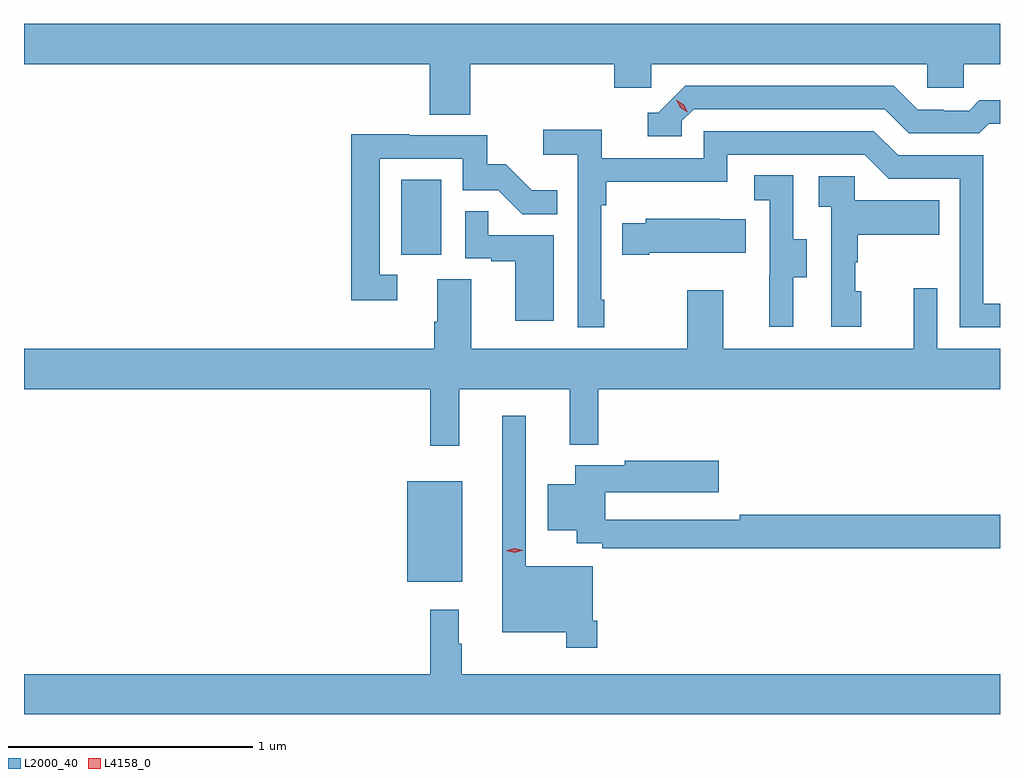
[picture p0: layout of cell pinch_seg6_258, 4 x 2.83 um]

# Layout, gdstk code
import gdstk
lib = gdstk.Library(unit=1e-6, precision=1e-09)
def R(c, l, rs):  # rectangles x0, y0, x1, y1
    for r in rs: c.add(gdstk.rectangle(r[:2], r[2:], *l))
def P(c, l, *ps):  # polygons
    for p in ps: c.add(gdstk.Polygon(p, *l))
L2000_40 = (2000, 40)
L4158_0 = (4158, 0)

pinch_seg6_258 = lib.new_cell('pinch_seg6_258')
R(pinch_seg6_258, L2000_40, [(1090.196,919.907,1090.423,920.317), (1090.172,921.246,1090.336,921.553)])
P(pinch_seg6_258, L2000_40, [(1090.454,922.028),(1091.045,922.028),(1091.045,921.93),(1091.196,921.93),(1091.196,922.028),(1092.327,922.028),(1092.327,921.93),(1092.477,921.93),(1092.477,922.028),(1092.626,922.028),(1092.626,922.192),(1088.626,922.192),(1088.626,922.028),(1090.289,922.028),(1090.289,921.82),(1090.454,921.82)],
  [(1091.322,921.795),(1091.37,921.843),(1092.153,921.843),(1092.252,921.744),(1092.541,921.744),(1092.58,921.783),(1092.626,921.783),(1092.626,921.88),(1092.541,921.88),(1092.499,921.837),(1092.396,921.837),(1092.396,921.84),(1092.289,921.84),(1092.19,921.939),(1091.337,921.939),(1091.226,921.828),(1091.183,921.828),(1091.183,921.732),(1091.322,921.732)],
  [(1091.005,921.061),(1090.992,921.061),(1090.992,921.449),(1091.012,921.449),(1091.012,921.545),(1091.508,921.545),(1091.508,921.657),(1092.072,921.657),(1092.171,921.558),(1092.462,921.558),(1092.462,920.949),(1092.626,920.949),(1092.626,921.045),(1092.558,921.045),(1092.558,921.654),(1092.208,921.654),(1092.109,921.753),(1091.412,921.753),(1091.412,921.642),(1090.994,921.642),(1090.994,921.758),(1090.755,921.758),(1090.755,921.656),(1090.896,921.656),(1090.896,920.949),(1091.005,920.949)],
  [(1090.156,921.165),(1090.083,921.165),(1090.083,921.639),(1090.425,921.639),(1090.425,921.51),(1090.569,921.51),(1090.667,921.412),(1090.811,921.412),(1090.811,921.511),(1090.707,921.511),(1090.6,921.618),(1090.524,921.618),(1090.524,921.735),(1090.205,921.735),(1090.205,921.74),(1089.967,921.74),(1089.967,921.06),(1090.156,921.06)],
  [(1091.779,921.154),(1091.833,921.154),(1091.833,921.309),(1091.778,921.309),(1091.778,921.572),(1091.619,921.572),(1091.619,921.469),(1091.682,921.469),(1091.682,921.165),(1091.681,921.165),(1091.681,920.952),(1091.779,920.952)],
  [(1092.058,921.096),(1092.033,921.096),(1092.033,921.215),(1092.043,921.215),(1092.043,921.329),(1092.377,921.329),(1092.377,921.469),(1092.03,921.469),(1092.03,921.567),(1091.883,921.567),(1091.883,921.443),(1091.934,921.443),(1091.934,920.952),(1092.058,920.952)],
  [(1090.798,921.327),(1090.529,921.327),(1090.529,921.425),(1090.434,921.425),(1090.434,921.231),(1090.541,921.231),(1090.541,921.219),(1090.64,921.219),(1090.64,920.976),(1090.798,920.976)],
  [(1091.188,921.254),(1091.585,921.254),(1091.585,921.391),(1091.477,921.391),(1091.477,921.394),(1091.175,921.394),(1091.175,921.376),(1091.077,921.376),(1091.077,921.247),(1091.188,921.247)],
  [(1088.626,920.696),(1090.291,920.696),(1090.291,920.463),(1090.409,920.463),(1090.409,920.696),(1090.862,920.696),(1090.862,920.468),(1090.979,920.468),(1090.979,920.696),(1092.626,920.696),(1092.626,920.86),(1092.369,920.86),(1092.369,921.109),(1092.272,921.109),(1092.272,920.86),(1091.491,920.86),(1091.491,921.1),(1091.344,921.1),(1091.344,920.86),(1090.459,920.86),(1090.459,921.146),(1090.319,921.146),(1090.319,920.972),(1090.307,920.972),(1090.307,920.86),(1088.626,920.86)],
  [(1090.976,919.747),(1090.956,919.747),(1090.956,919.969),(1090.683,919.969),(1090.683,920.587),(1090.586,920.587),(1090.586,919.7),(1090.848,919.7),(1090.848,919.635),(1090.976,919.635)],
  [(1092.626,920.18),(1091.56,920.18),(1091.56,920.16),(1091.008,920.16),(1091.008,920.273),(1091.473,920.273),(1091.473,920.403),(1091.088,920.403),(1091.088,920.383),(1090.886,920.383),(1090.886,920.305),(1090.772,920.305),(1090.772,920.117),(1090.892,920.117),(1090.892,920.064),(1090.996,920.064),(1090.996,920.044),(1092.626,920.044)],
  [(1092.626,919.528),(1090.42,919.528),(1090.42,919.652),(1090.408,919.652),(1090.408,919.792),(1090.291,919.792),(1090.291,919.528),(1088.626,919.528),(1088.626,919.364),(1092.626,919.364)])
P(pinch_seg6_258, L4158_0, [(1090.637,920.024),(1090.601,920.033),(1090.601,920.033),(1090.601,920.033),(1090.636,920.044),(1090.672,920.036),(1090.673,920.036),(1090.672,920.035)],
  [(1091.347,921.83),(1091.316,921.849),(1091.299,921.881),(1091.299,921.881),(1091.299,921.881),(1091.33,921.862),(1091.347,921.83),(1091.347,921.83)])

lib.write_gds('pinch_seg6_258.gds')
